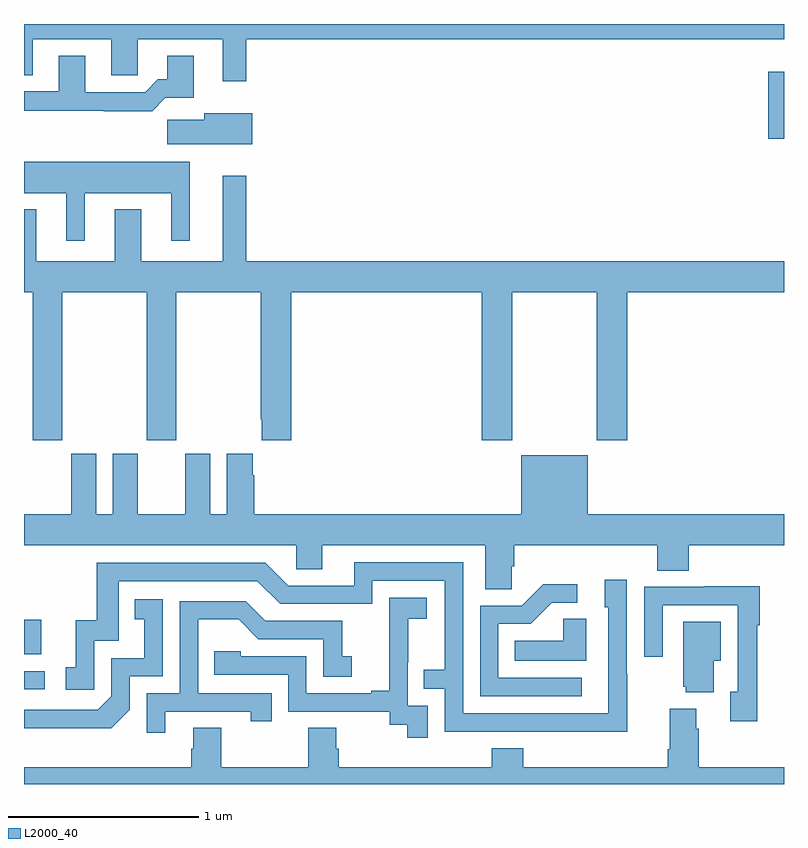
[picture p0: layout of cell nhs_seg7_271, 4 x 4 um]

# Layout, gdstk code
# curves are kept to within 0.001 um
import gdstk
lib = gdstk.Library(unit=1e-6, precision=1e-09)
def R(c, l, rs):  # rectangles x0, y0, x1, y1
    for r in rs: c.add(gdstk.rectangle(r[:2], r[2:], *l))
def P(c, l, *ps):  # polygons
    for p in ps: c.add(gdstk.Polygon(p, *l))
L2000_40 = (2000, 40)

nhs_seg7_271 = lib.new_cell('nhs_seg7_271')
R(nhs_seg7_271, L2000_40, [(131,1026.498,131.11,1026.594), (131,1026.683,131.092,1026.865), (134.918,1029.395,135,1029.748)])
P(nhs_seg7_271, L2000_40, [(132.169,1029.92),(135,1029.92),(135,1030),(131,1030),(131,1029.73),(131.047,1029.73),(131.047,1029.92),(131.459,1029.92),(131.459,1029.73),(131.598,1029.73),(131.598,1029.92),(132.047,1029.92),(132.047,1029.699),(132.169,1029.699)],
  [(131.744,1029.611),(131.893,1029.611),(131.893,1029.832),(131.753,1029.832),(131.753,1029.709),(131.704,1029.709),(131.637,1029.642),(131.323,1029.642),(131.323,1029.832),(131.183,1029.832),(131.183,1029.645),(131,1029.645),(131,1029.544),(131.419,1029.544),(131.419,1029.542),(131.675,1029.542)],
  [(132.202,1029.529),(131.948,1029.529),(131.948,1029.497),(131.754,1029.497),(131.754,1029.368),(132.202,1029.368)],
  [(131.32,1029.11),(131.774,1029.11),(131.774,1028.859),(131.872,1028.859),(131.872,1029.274),(131,1029.274),(131,1029.11),(131.222,1029.11),(131.222,1028.859),(131.32,1028.859)],
  [(131.617,1029.025),(131.477,1029.025),(131.477,1028.752),(131.065,1028.752),(131.065,1029.025),(131,1029.025),(131,1028.588),(131.047,1028.588),(131.047,1027.809),(131.202,1027.809),(131.202,1028.588),(131.647,1028.588),(131.647,1027.809),(131.802,1027.809),(131.802,1028.588),(132.247,1028.588),(132.247,1027.921),(132.251,1027.921),(132.251,1027.809),(132.407,1027.809),(132.407,1028.588),(133.409,1028.588),(133.409,1027.809),(133.569,1027.809),(133.569,1028.588),(134.014,1028.588),(134.014,1027.809),(134.174,1027.809),(134.174,1028.588),(135,1028.588),(135,1028.752),(132.169,1028.752),(132.169,1029.202),(132.047,1029.202),(132.047,1028.752),(131.617,1028.752)],
  [(134.333,1027.123),(134.498,1027.123),(134.498,1027.256),(135,1027.256),(135,1027.42),(133.966,1027.42),(133.966,1027.729),(133.616,1027.729),(133.616,1027.42),(132.212,1027.42),(132.212,1027.625),(132.205,1027.625),(132.205,1027.738),(132.068,1027.738),(132.068,1027.42),(131.98,1027.42),(131.98,1027.738),(131.849,1027.738),(131.849,1027.42),(131.599,1027.42),(131.599,1027.738),(131.468,1027.738),(131.468,1027.42),(131.38,1027.42),(131.38,1027.738),(131.249,1027.738),(131.249,1027.42),(131,1027.42),(131,1027.256),(132.432,1027.256),(132.432,1027.129),(132.571,1027.129),(132.571,1027.256),(133.427,1027.256),(133.427,1027.024),(133.566,1027.024),(133.566,1027.147),(133.58,1027.147),(133.58,1027.256),(134.333,1027.256)],
  [(134.175,1026.581),(134.172,1026.581),(134.172,1027.075),(134.057,1027.075),(134.057,1026.93),(134.076,1026.93),(134.076,1026.372),(133.311,1026.372),(133.311,1027.167),(132.737,1027.167),(132.737,1027.044),(132.39,1027.044),(132.27,1027.164),(131.383,1027.164),(131.383,1026.862),(131.273,1026.862),(131.273,1026.615),(131.22,1026.615),(131.22,1026.495),(131.37,1026.495),(131.37,1026.753),(131.499,1026.753),(131.499,1027.068),(132.228,1027.068),(132.348,1026.948),(132.834,1026.948),(132.834,1027.071),(133.215,1027.071),(133.215,1026.602),(133.105,1026.602),(133.105,1026.501),(133.215,1026.501),(133.215,1026.276),(134.175,1026.275)],
  [(133.936,1026.558),(133.497,1026.558),(133.497,1026.843),(133.666,1026.843),(133.777,1026.954),(133.912,1026.954),(133.912,1027.052),(133.733,1027.052),(133.62,1026.939),(133.401,1026.939),(133.401,1026.462),(133.936,1026.462)],
  [(134.858,1026.835),(134.873,1026.835),(134.873,1027.04),(134.581,1027.04),(134.581,1027.038),(134.265,1027.038),(134.265,1026.669),(134.361,1026.669),(134.361,1026.942),(134.757,1026.942),(134.757,1026.486),(134.717,1026.486),(134.717,1026.33),(134.858,1026.33)],
  [(133.125,1026.411),(133.02,1026.411),(133.02,1026.641),(133.022,1026.641),(133.022,1026.869),(133.12,1026.869),(133.12,1026.979),(132.922,1026.979),(132.922,1026.773),(132.923,1026.773),(132.923,1026.49),(132.827,1026.49),(132.827,1026.477),(132.486,1026.477),(132.486,1026.672),(132.141,1026.672),(132.141,1026.699),(132.001,1026.699),(132.001,1026.576),(132.39,1026.576),(132.39,1026.381),(132.924,1026.381),(132.924,1026.313),(133.017,1026.313),(133.017,1026.243),(133.125,1026.243)],
  [(131.556,1026.39),(131.556,1026.567),(131.73,1026.567),(131.73,1026.973),(131.584,1026.973),(131.584,1026.867),(131.633,1026.867),(131.633,1026.663),(131.46,1026.663),(131.46,1026.462),(131.388,1026.39),(131,1026.39),(131,1026.294),(131.05,1026.293),(131.458,1026.293)],
  [(131.743,1026.381),(132.194,1026.381),(132.194,1026.33),(132.305,1026.33),(132.305,1026.477),(131.916,1026.477),(131.916,1026.866),(132.13,1026.866),(132.234,1026.762),(132.576,1026.762),(132.576,1026.564),(132.724,1026.564),(132.724,1026.673),(132.675,1026.673),(132.675,1026.858),(132.271,1026.858),(132.166,1026.963),(131.82,1026.963),(131.82,1026.477),(131.646,1026.477),(131.646,1026.27),(131.743,1026.27)],
  [(133.96,1026.869),(133.839,1026.869),(133.839,1026.754),(133.582,1026.754),(133.582,1026.65),(133.96,1026.65)],
  [(134.629,1026.65),(134.668,1026.65),(134.668,1026.853),(134.471,1026.853),(134.471,1026.513),(134.483,1026.513),(134.483,1026.482),(134.629,1026.482)],
  [(135,1026.088),(134.552,1026.088),(134.552,1026.29),(134.539,1026.29),(134.539,1026.397),(134.399,1026.397),(134.399,1026.184),(134.387,1026.184),(134.387,1026.088),(133.628,1026.088),(133.628,1026.187),(133.463,1026.187),(133.463,1026.088),(132.656,1026.088),(132.656,1026.186),(132.643,1026.186),(132.643,1026.296),(132.496,1026.296),(132.496,1026.088),(132.039,1026.088),(132.039,1026.296),(131.891,1026.296),(131.891,1026.186),(131.879,1026.186),(131.879,1026.088),(131,1026.088),(131,1026),(135,1026)])

lib.write_gds('nhs_seg7_271.gds')
